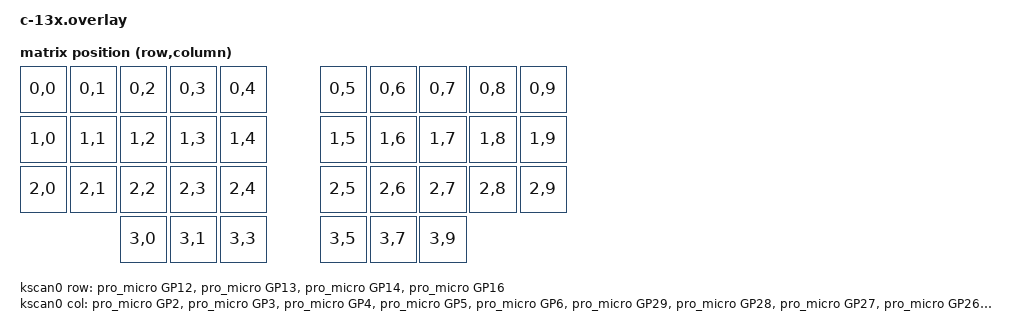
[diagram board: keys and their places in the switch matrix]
#include <dt-bindings/zmk/matrix_transform.h>

/ {
    chosen {
        zmk,kscan = &kscan0;
        zmk,matrix_transform = &default_transform;
    };

    default_transform: keymap_transform_0 {
        compatible = "zmk,matrix-transform";
        rows = <4>;
        columns = <10>;
        // 35 keys out of 40 possible positions
        map = <
            RC(0,0)  RC(0,1)  RC(0,2)  RC(0,3)  RC(0,4)  RC(0,5)  RC(0,6)  RC(0,7)  RC(0,8)  RC(0,9)
            RC(1,0)  RC(1,1)  RC(1,2)  RC(1,3)  RC(1,4)  RC(1,5)  RC(1,6)  RC(1,7)  RC(1,8)  RC(1,9)
            RC(2,0)  RC(2,1)  RC(2,2)  RC(2,3)  RC(2,4)  RC(2,5)  RC(2,6)  RC(2,7)  RC(2,8)  RC(2,9)
            RC(3,0)  RC(3,1)           RC(3,3)           RC(3,5)           RC(3,7)           RC(3,9)
        >;
    };

    kscan0: kscan {
        compatible = "zmk,kscan-gpio-matrix";
        label = "KSCAN";

        // Настройки для снижения дребезга
        debounce-press-ms = <5>;
        debounce-release-ms = <5>;

        // Пины для строк (рядов) - обычно подтянуты к земле
        row-gpios
            = <&pro_micro GP12 GPIO_ACTIVE_HIGH>
            , <&pro_micro GP13 GPIO_ACTIVE_HIGH>
            , <&pro_micro GP14 GPIO_ACTIVE_HIGH>
            , <&pro_micro GP16 GPIO_ACTIVE_HIGH>
            ;
        
        // Пины для колонок - обычно с подтяжкой к питанию
        col-gpios
            = <&pro_micro GP2 (GPIO_ACTIVE_HIGH | GPIO_PULL_DOWN)>
            , <&pro_micro GP3 (GPIO_ACTIVE_HIGH | GPIO_PULL_DOWN)>
            , <&pro_micro GP4 (GPIO_ACTIVE_HIGH | GPIO_PULL_DOWN)>
            , <&pro_micro GP5 (GPIO_ACTIVE_HIGH | GPIO_PULL_DOWN)>
            , <&pro_micro GP6 (GPIO_ACTIVE_HIGH | GPIO_PULL_DOWN)>
            , <&pro_micro GP29 (GPIO_ACTIVE_HIGH | GPIO_PULL_DOWN)>
            , <&pro_micro GP28 (GPIO_ACTIVE_HIGH | GPIO_PULL_DOWN)>
            , <&pro_micro GP27 (GPIO_ACTIVE_HIGH | GPIO_PULL_DOWN)>
            , <&pro_micro GP26 (GPIO_ACTIVE_HIGH | GPIO_PULL_DOWN)>
            , <&pro_micro GP22 (GPIO_ACTIVE_HIGH | GPIO_PULL_DOWN)>
            ;
    };
};







